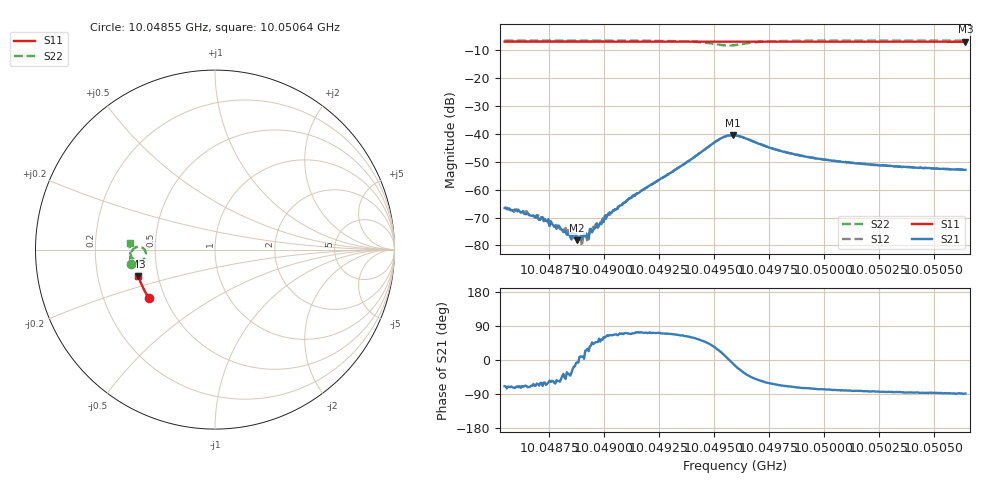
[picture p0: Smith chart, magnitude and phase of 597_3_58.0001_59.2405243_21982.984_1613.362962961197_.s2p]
#  HZ  S  RI  R  50.00
! Rohde & Schwarz Vector Network Analyzer
! Rohde-Schwarz,ZNB20-2Port,1311601062101988,3.16
! Created: UTC 3/21/2024, 1:17:05 AM
! freq[Hz]  re:S11  im:S11  re:S21  im:S21  re:S12  im:S12  re:S22  im:S22
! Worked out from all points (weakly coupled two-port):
!   401 points, 10.04855 GHz to 10.05064 GHz, reference 50 ohm
!   highest |S21| = -40.44 dB at 10.04958 GHz (marker M1); lowest = -78.2 dB at 10.04888 GHz (marker M2)
!   lowest |S11| = -6.9 dB at 10.05064 GHz (marker M3), VSWR 2.65, Z = 19.3 - j7.13 ohm
!   |S11| at or under -10 dB: nowhere
!   |S22| runs from -8.3 to -6.4 dB; largest |S21 - S12| = 0.00068
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1.0048547e10  -0.3677 -0.2698  0.000166 -0.000438  0.000171 -0.000443  -0.4697 -0.0824
1.0048725e10  -0.374 -0.26  0.000137 -0.000234  0.000146 -0.000262  -0.4712 -0.0689
1.0048799e10  -0.3768 -0.2557  0.000113 -0.000177  0.000131 -0.00015  -0.4718 -0.0632
1.0048841e10  -0.3784 -0.2535  0.000126 -9.86e-05  0.000133 -9.15e-05  -0.4718 -0.0598
1.0048867e10  -0.3791 -0.2521  0.000152 -4.49e-05  0.000122 -5.17e-05  -0.4721 -0.0577
1.0048877e10  -0.3795 -0.2514  0.000123 -1.32e-05  0.000115 4.98e-07  -0.4721 -0.0568
1.0048888e10  -0.3799 -0.2508  0.000132 1.87e-05  0.000128 -7.13e-06  -0.4721 -0.0559
1.0048898e10  -0.3803 -0.2503  0.000128 2e-05  9.2e-05 3.02e-05  -0.4722 -0.0551
1.0048919e10  -0.381 -0.249  0.000146 7.04e-05  0.000114 8.25e-05  -0.4723 -0.0533
1.004893e10  -0.3814 -0.2484  0.000118 5.09e-05  0.00012 8.98e-05  -0.4722 -0.0524
1.0048951e10  -0.382 -0.2473  0.000145 0.000131  0.000176 0.000125  -0.4722 -0.0505
1.0048977e10  -0.383 -0.2459  0.000128 0.000192  0.000103 0.000207  -0.4721 -0.0483
1.0049008e10  -0.384 -0.2441  0.000142 0.000266  0.000147 0.000317  -0.4722 -0.0455
1.0049076e10  -0.3864 -0.2401  0.000188 0.000492  0.000154 0.000506  -0.4719 -0.039
1.0049249e10  -0.392 -0.2302  0.00048 0.00142  0.000396 0.00143  -0.4684 -0.0192
1.0049522e10  -0.3996 -0.2141  0.00718 0.00337  0.00696 0.00385  -0.4014 0.00825
1.0049585e10  -0.4011 -0.2108  0.00938 -0.00149  0.00947 -0.000842  -0.387 -0.0378
1.0049595e10  -0.4014 -0.2103  0.00911 -0.00242  0.00933 -0.00178  -0.3906 -0.0458
1.0049784e10  -0.4075 -0.1995  0.00218 -0.00469  0.00251 -0.00459  -0.4613 -0.0465
1.0049946e10  -0.4119 -0.1897  0.000963 -0.00363  0.00115 -0.0036  -0.4719 -0.0234
1.0050298e10  -0.4205 -0.1683  0.000274 -0.00265  0.000421 -0.00266  -0.4754 0.00989
1.0050643e10  -0.4278 -0.1468  5.75e-05 -0.00227  0.000146 -0.00228  -0.4744 0.0364
